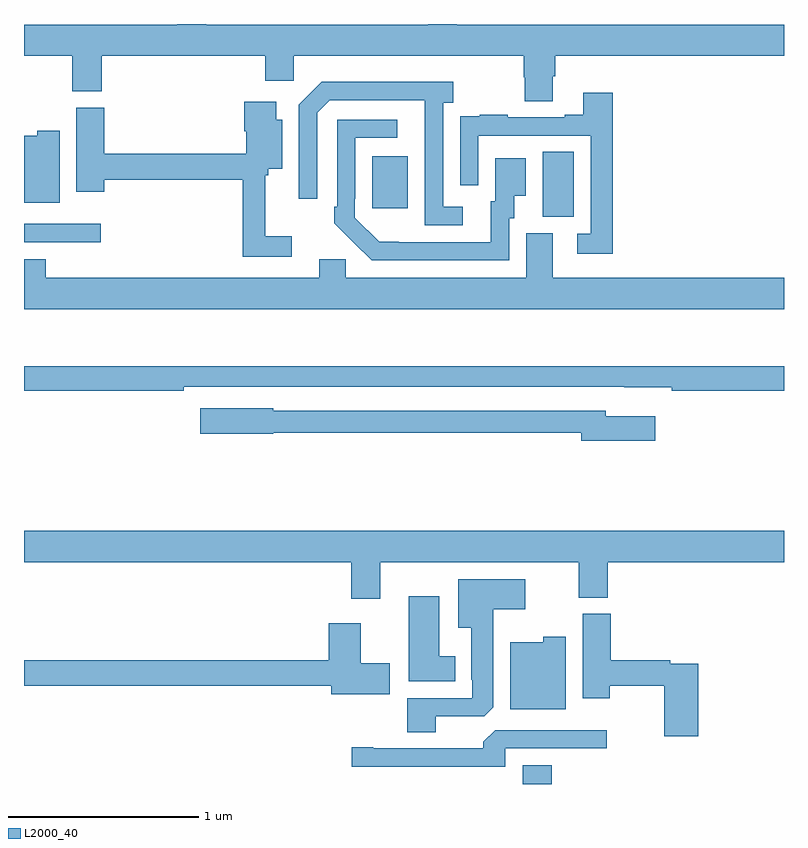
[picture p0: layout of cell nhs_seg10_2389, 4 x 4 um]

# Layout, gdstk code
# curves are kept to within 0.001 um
import gdstk
lib = gdstk.Library(unit=1e-6, precision=1e-09)
def R(c, l, rs):  # rectangles x0, y0, x1, y1
    for r in rs: c.add(gdstk.rectangle(r[:2], r[2:], *l))
def P(c, l, *ps):  # polygons
    for p in ps: c.add(gdstk.Polygon(p, *l))
L2000_40 = (2000, 40)

nhs_seg10_2389 = lib.new_cell('nhs_seg10_2389')
R(nhs_seg10_2389, L2000_40, [(241.625,1280.5,241.778,1280.599), (239,1283.352,239.404,1283.448), (241.73,1283.485,241.894,1283.828), (240.833,1283.529,241.021,1283.803)])
P(nhs_seg10_2389, L2000_40, [(241.783,1284.226),(241.796,1284.226),(241.796,1284.332),(243,1284.332),(243,1284.496),(241.278,1284.496),(241.278,1284.5),(241.127,1284.5),(241.127,1284.496),(239.959,1284.496),(239.959,1284.5),(239.807,1284.5),(239.807,1284.496),(239,1284.496),(239,1284.332),(239.255,1284.332),(239.255,1284.145),(239.408,1284.145),(239.408,1284.332),(240.269,1284.332),(240.269,1284.201),(240.42,1284.201),(240.42,1284.332),(241.631,1284.332),(241.631,1284.219),(241.636,1284.219),(241.636,1284.094),(241.783,1284.094)],
  [(241.309,1283.538),(241.206,1283.538),(241.206,1284.086),(241.258,1284.086),(241.258,1284.196),(240.568,1284.196),(240.447,1284.075),(240.447,1283.58),(240.543,1283.58),(240.543,1284.033),(240.609,1284.099),(241.109,1284.099),(241.11,1283.442),(241.309,1283.442)],
  [(242.099,1284.139),(241.943,1284.139),(241.943,1284.022),(241.847,1284.022),(241.847,1284.009),(241.547,1284.009),(241.547,1284.022),(241.399,1284.022),(241.399,1284.015),(241.297,1284.015),(241.297,1283.906),(241.296,1283.906),(241.296,1283.652),(241.392,1283.652),(241.392,1283.913),(241.983,1283.913),(241.983,1283.397),(241.911,1283.397),(241.911,1283.292),(242.099,1283.292)],
  [(240.409,1283.383),(240.269,1283.383),(240.269,1283.703),(240.286,1283.703),(240.286,1283.738),(240.358,1283.738),(240.358,1283.995),(240.328,1283.995),(240.328,1284.091),(240.158,1284.091),(240.158,1283.936),(240.17,1283.936),(240.17,1283.816),(239.423,1283.816),(239.423,1284.06),(239.276,1284.06),(239.276,1283.616),(239.423,1283.616),(239.423,1283.68),(240.151,1283.68),(240.151,1283.274),(240.409,1283.274)],
  [(241.554,1283.478),(241.579,1283.478),(241.579,1283.597),(241.642,1283.597),(241.642,1283.794),(241.481,1283.794),(241.481,1283.568),(241.457,1283.568),(241.457,1283.352),(240.87,1283.353),(240.741,1283.481),(240.741,1283.581),(240.744,1283.581),(240.744,1283.901),(240.964,1283.901),(240.964,1283.997),(240.648,1283.997),(240.648,1283.539),(240.633,1283.539),(240.633,1283.451),(240.83,1283.256),(241.554,1283.256)],
  [(239.188,1283.938),(239.07,1283.938),(239.07,1283.911),(239,1283.911),(239,1283.558),(239.188,1283.558)],
  [(243,1283.164),(241.783,1283.164),(241.783,1283.4),(241.643,1283.4),(241.643,1283.164),(240.693,1283.164),(240.693,1283.262),(240.554,1283.262),(240.554,1283.164),(239.114,1283.164),(239.114,1283.263),(239,1283.263),(239,1283),(243,1283)],
  [(239.84,1282.59),(242.158,1282.59),(242.158,1282.589),(242.41,1282.589),(242.41,1282.57),(243,1282.57),(243,1282.699),(239,1282.699),(239,1282.57),(239.84,1282.57)],
  [(242.323,1282.435),(242.062,1282.435),(242.062,1282.464),(240.312,1282.464),(240.312,1282.477),(239.928,1282.477),(239.928,1282.343),(240.312,1282.343),(240.312,1282.348),(241.934,1282.348),(241.934,1282.306),(242.323,1282.306)],
  [(240.874,1281.668),(241.919,1281.668),(241.919,1281.481),(242.072,1281.481),(242.072,1281.668),(243,1281.668),(243,1281.832),(239,1281.832),(239,1281.668),(240.722,1281.668),(240.722,1281.474),(240.874,1281.474)],
  [(241.168,1280.856),(241.422,1280.856),(241.471,1280.905),(241.471,1281.419),(241.639,1281.419),(241.639,1281.577),(241.286,1281.577),(241.286,1281.323),(241.355,1281.323),(241.355,1281.049),(241.359,1281.049),(241.359,1280.952),(241.016,1280.952),(241.016,1280.773),(241.168,1280.773)],
  [(241.27,1281.172),(241.186,1281.172),(241.186,1281.487),(241.025,1281.487),(241.025,1281.041),(241.27,1281.041)],
  [(242.549,1281.132),(242.402,1281.132),(242.402,1281.152),(242.087,1281.152),(242.087,1281.396),(241.94,1281.396),(241.94,1280.952),(242.082,1280.952),(242.082,1281.016),(242.371,1281.016),(242.371,1280.751),(242.549,1280.751)],
  [(240.925,1281.135),(240.772,1281.135),(240.772,1281.346),(240.605,1281.346),(240.605,1281.152),(239,1281.152),(239,1281.016),(240.617,1281.016),(240.617,1280.972),(240.925,1280.972)],
  [(241.852,1281.274),(241.734,1281.274),(241.734,1281.247),(241.559,1281.247),(241.559,1280.894),(241.852,1280.894)],
  [(241.533,1280.688),(242.068,1280.688),(242.068,1280.784),(241.479,1280.784),(241.418,1280.722),(241.418,1280.688),(240.838,1280.688),(240.838,1280.693),(240.726,1280.693),(240.726,1280.592),(241.533,1280.592)])

lib.write_gds('nhs_seg10_2389.gds')
